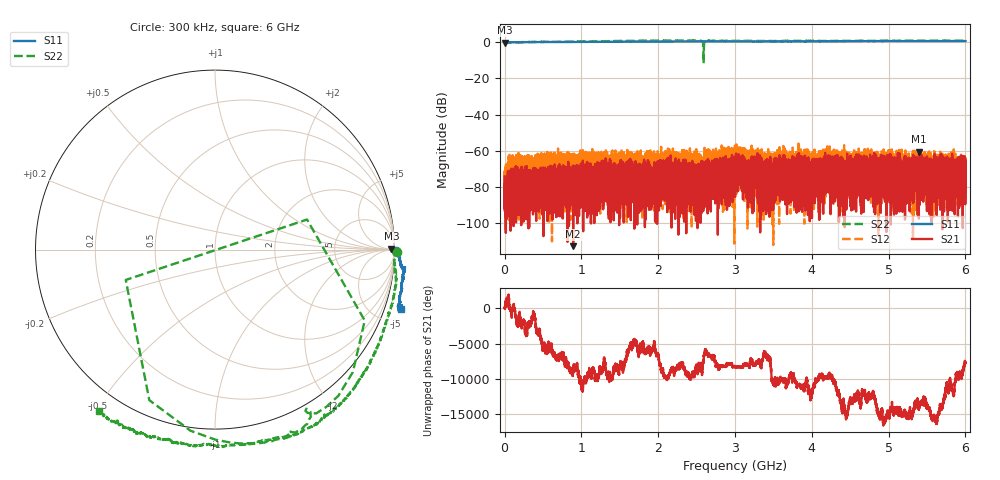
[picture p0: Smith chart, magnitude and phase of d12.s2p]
!Agilent Technologies,N5230C,SG49000117,A.08.50.07
!Agilent N5230C: A.08.50.07
!Date: Thursday, May 16, 2024 18:16:06
!Correction: S11(Full 2 Port(1,2))
!S21(Full 2 Port(1,2))
!S12(Full 2 Port(1,2))
!S22(Full 2 Port(1,2))
!S2P File: Measurements: S11, S21, S12, S22:
# Hz S  MA  R 50
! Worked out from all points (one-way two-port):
!   20001 points, 300 kHz to 6 GHz, reference 50 ohm
!   highest |S21| = -60.50 dB at 5.396 GHz (marker M1); lowest = -112.9 dB at 893.1 MHz (marker M2)
!   lowest |S11| = -0.2 dB at 600 kHz (marker M3), VSWR 115.72, Z = 5.29e+03 + j1.62e+03 ohm
!   |S11| at or under -10 dB: nowhere
!   |S22| runs from -11.6 to 1.0 dB; largest |S21 - S12| = 0.0017
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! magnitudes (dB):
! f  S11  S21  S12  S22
! 300 kHz  0.1  -74.3  -75.3  0.1
! 600 kHz  -0.2  -85.6  -74.9  -0.3
! 289.2 MHz  0.1  -77.8  -72.9  0.2
! 893.1 MHz  0.2  -112.9  -76.1  0.4
! 1 GHz  0.3  -70.4  -68.4  0.4
! 2 GHz  0.5  -79.0  -74.2  1.0
! 2.142 GHz  0.5  -66.5  -68.6  1.0
! 2.576 GHz  0.5  -73.0  -74.9  0.6
! 2.643 GHz  0.5  -72.0  -61.1  0.8
! 2.753 GHz  0.5  -71.6  -70.3  0.9
! 3 GHz  0.5  -65.5  -64.7  0.8
! 3.394 GHz  0.5  -76.1  -70.2  0.8
! 3.624 GHz  0.5  -63.2  -72.1  0.8
! 3.688 GHz  0.5  -78.2  -69.6  0.8
! 3.836 GHz  0.6  -66.4  -65.9  0.8
! 4 GHz  0.5  -80.6  -72.9  0.8
! 4.194 GHz  0.6  -68.2  -80.7  0.8
! 4.434 GHz  0.7  -67.8  -67.2  0.8
! 5 GHz  0.7  -76.2  -70.5  0.9
! 5.396 GHz  0.7  -60.5  -70.0  0.9
! 5.963 GHz  0.7  -83.3  -63.7  0.9
! 6 GHz  0.7  -80.2  -73.8  0.8
